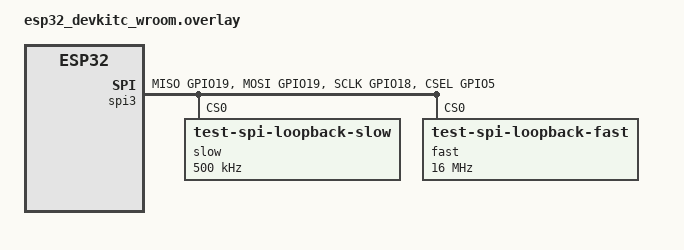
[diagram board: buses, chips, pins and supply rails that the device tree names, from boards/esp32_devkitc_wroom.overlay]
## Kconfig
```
# SPDX-License-Identifier: Apache-2.0

mainmenu "SPI Loopback Test"

source "Kconfig.zephyr"

config SPI_LOOPBACK_MODE_LOOP
	bool "Configure the SPI in LOOP mode, so that no extra wiring is needed"
```

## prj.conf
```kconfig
CONFIG_TEST=y
CONFIG_BOOT_BANNER=y
CONFIG_SPI=y
CONFIG_SPI_ASYNC=y
CONFIG_SPI_LOG_LEVEL_INF=y
CONFIG_ZTEST=y
CONFIG_ZTEST_NEW_API=y
```

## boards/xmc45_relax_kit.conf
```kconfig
CONFIG_SPI_XMC4XXX_INTERRUPT=y
CONFIG_SPI_XMC4XXX_DMA=y
CONFIG_SPI_LOOPBACK_MODE_LOOP=y
```

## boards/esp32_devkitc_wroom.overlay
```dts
/*
 * Copyright (c) 2022 Kumar Gala <galak@kernel.org>
 *
 * SPDX-License-Identifier: Apache-2.0
 */

&pinctrl {
	spim3_loopback: spim3_loopback {
		group1 {
			pinmux = <SPIM3_MISO_GPIO19>;
			output-enable; /* Enable internal loopback */
		};
		group2 {
			pinmux = <SPIM3_MOSI_GPIO19>;
			input-enable; /* Enable internal loopback */
		};
		group3 {
			pinmux = <SPIM3_SCLK_GPIO18>,
				<SPIM3_CSEL_GPIO5>;
		};
	};
};

&spi3 {
	slow@0 {
		compatible = "test-spi-loopback-slow";
		reg = <0>;
		spi-max-frequency = <500000>;
	};
	fast@0 {
		compatible = "test-spi-loopback-fast";
		reg = <0>;
		spi-max-frequency = <16000000>;
	};
};

&spi3 {
	dma-enabled;
	pinctrl-0 = <&spim3_loopback>;

};
```

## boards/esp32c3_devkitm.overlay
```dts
/*
 * Copyright (c) 2022 Kumar Gala <galak@kernel.org>
 *
 * SPDX-License-Identifier: Apache-2.0
 */

&pinctrl {
	spim2_loopback: spim2_loopback {
		group1 {
			pinmux = <SPIM2_MISO_GPIO2>;
			output-enable; /* Enable internal loopback */
		};
		group2 {
			pinmux = <SPIM2_MOSI_GPIO2>;
			input-enable; /* Enable internal loopback */
		};
		group3 {
			pinmux = <SPIM2_SCLK_GPIO6>,
				<SPIM2_CSEL_GPIO10>;
		};
	};
};

&spi2 {
	slow@0 {
		compatible = "test-spi-loopback-slow";
		reg = <0>;
		spi-max-frequency = <500000>;
	};
	fast@0 {
		compatible = "test-spi-loopback-fast";
		reg = <0>;
		spi-max-frequency = <16000000>;
	};
};

&spi2 {
	dma-enabled;
	pinctrl-0 = <&spim2_loopback>;
};
```

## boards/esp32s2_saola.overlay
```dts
/*
 * Copyright (c) 2022 Kumar Gala <galak@kernel.org>
 *
 * SPDX-License-Identifier: Apache-2.0
 */

&pinctrl {
	spim3_loopback: spim3_loopback {
		group1 {
			pinmux = <SPIM3_MISO_GPIO37>;
			output-enable; /* Enable internal loopback */
		};
		group2 {
			pinmux = <SPIM3_MOSI_GPIO37>;
			input-enable; /* Enable internal loopback */
		};
		group3 {
			pinmux = <SPIM3_SCLK_GPIO36>,
				<SPIM3_CSEL_GPIO34>;
		};
	};
};

&spi3 {
	slow@0 {
		compatible = "test-spi-loopback-slow";
		reg = <0>;
		spi-max-frequency = <100000>;
	};
	fast@0 {
		compatible = "test-spi-loopback-fast";
		reg = <0>;
		spi-max-frequency = <16000000>;
	};
};

&spi3 {
	dma-enabled;
	pinctrl-0 = <&spim3_loopback>;
};
```

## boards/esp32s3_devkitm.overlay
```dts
/*
 * Copyright (c) 2022 Kumar Gala <galak@kernel.org>
 *
 * SPDX-License-Identifier: Apache-2.0
 */

&pinctrl {
	spim3_loopback: spim3_loopback {
		group1 {
			pinmux = <SPIM3_MISO_GPIO37>;
			output-enable; /* Enable internal loopback */
		};
		group2 {
			pinmux = <SPIM3_MOSI_GPIO37>;
			input-enable; /* Enable internal loopback */
		};
		group3 {
			pinmux = <SPIM3_SCLK_GPIO36>,
				<SPIM3_CSEL_GPIO38>;
		};
	};
};

&spi3 {
	slow@0 {
		compatible = "test-spi-loopback-slow";
		reg = <0>;
		spi-max-frequency = <100000>;
	};
	fast@0 {
		compatible = "test-spi-loopback-fast";
		reg = <0>;
		spi-max-frequency = <16000000>;
	};
};

&spi3 {
	dma-enabled;
	pinctrl-0 = <&spim3_loopback>;
};
```

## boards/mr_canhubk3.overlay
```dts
/*
 * Copyright 2023 NXP
 *
 * SPDX-License-Identifier: Apache-2.0
 */

&lpspi1 {
	status = "okay";

	slow@0 {
		compatible = "test-spi-loopback-slow";
		reg = <0>;
		spi-max-frequency = <500000>;
	};

	fast@0 {
		compatible = "test-spi-loopback-fast";
		reg = <0>;
		spi-max-frequency = <5000000>;
	};
};
```

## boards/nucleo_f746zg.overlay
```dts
/*
 * Copyright (c) 2021 STMicroelectronics
 *
 * SPDX-License-Identifier: Apache-2.0
 */

&spi1 {
	dmas = <&dma2 5 3 0x28440 0x03
		&dma2 2 3 0x28480 0x03>;
	dma-names = "tx", "rx";
	slow@0 {
		compatible = "test-spi-loopback-slow";
		reg = <0>;
		spi-max-frequency = <500000>;
	};
	fast@0 {
		compatible = "test-spi-loopback-fast";
		reg = <0>;
		spi-max-frequency = <16000000>;
	};
};

&dma2 {
	status = "okay";
};
```

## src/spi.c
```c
/*
 * Copyright (c) 2017 Intel Corporation.
 *
 * SPDX-License-Identifier: Apache-2.0
 */

#define LOG_LEVEL CONFIG_LOG_DEFAULT_LEVEL
#include <zephyr/logging/log.h>
LOG_MODULE_REGISTER(spi_loopback);

#include <zephyr/kernel.h>
#include <zephyr/sys/printk.h>
#include <string.h>
#include <stdio.h>
#include <zephyr/ztest.h>

#include <zephyr/drivers/spi.h>

#define SPI_FAST_DEV	DT_COMPAT_GET_ANY_STATUS_OKAY(test_spi_loopback_fast)
#define SPI_SLOW_DEV	DT_COMPAT_GET_ANY_STATUS_OKAY(test_spi_loopback_slow)

#if CONFIG_SPI_LOOPBACK_MODE_LOOP
#define MODE_LOOP SPI_MODE_LOOP
#else
#define MODE_LOOP 0
#endif

#define SPI_OP SPI_OP_MODE_MASTER | SPI_MODE_CPOL | MODE_LOOP | \
	       SPI_MODE_CPHA | SPI_WORD_SET(8) | SPI_LINES_SINGLE


static struct spi_dt_spec spi_fast = SPI_DT_SPEC_GET(SPI_FAST_DEV, SPI_OP, 0);
static struct spi_dt_spec spi_slow = SPI_DT_SPEC_GET(SPI_SLOW_DEV, SPI_OP, 0);

/* to run this test, connect MOSI pin to the MISO of the SPI */

#define STACK_SIZE 512
#define BUF_SIZE 17
#define BUF2_SIZE 36

#if CONFIG_NOCACHE_MEMORY
static const char tx_data[BUF_SIZE] = "0123456789abcdef\0";
static __aligned(32) char buffer_tx[BUF_SIZE] __used __attribute__((__section__(".nocache")));
static __aligned(32) char buffer_rx[BUF_SIZE] __used __attribute__((__section__(".nocache")));
static const char tx2_data[BUF2_SIZE] = "Thequickbrownfoxjumpsoverthelazydog\0";
static __aligned(32) char buffer2_tx[BUF2_SIZE] __used __attribute__((__section__(".nocache")));
static __aligned(32) char buffer2_rx[BUF2_SIZE] __used __attribute__((__section__(".nocache")));
#else
/* this src memory shall be in RAM to support using as a DMA source pointer.*/
static uint8_t buffer_tx[] = "0123456789abcdef\0";
static uint8_t buffer_rx[BUF_SIZE] = {};

static uint8_t buffer2_tx[] = "Thequickbrownfoxjumpsoverthelazydog\0";
static uint8_t buffer2_rx[BUF2_SIZE] = {};
#endif

/*
 * We need 5x(buffer size) + 1 to print a comma-separated list of each
 * byte in hex, plus a null.
 */
static uint8_t buffer_print_tx[BUF_SIZE * 5 + 1];
static uint8_t buffer_print_rx[BUF_SIZE * 5 + 1];

static uint8_t buffer_print_tx2[BUF2_SIZE * 5 + 1];
static uint8_t buffer_print_rx2[BUF2_SIZE * 5 + 1];

static void to_display_format(const uint8_t *src, size_t size, char *dst)
{
	size_t i;

	for (i = 0; i < size; i++) {
		sprintf(dst + 5 * i, "0x%02x,", src[i]);
	}
}

/* test transferring different buffers on the same dma channels */
static int spi_complete_multiple(struct spi_dt_spec *spec)
{
	struct spi_buf tx_bufs[2];
	const struct spi_buf_set tx = {
		.buffers = tx_bufs,
		.count = ARRAY_SIZE(tx_bufs)
	};

	tx_bufs[0].buf = buffer_tx;
	tx_bufs[0].len = BUF_SIZE;

	tx_bufs[1].buf = buffer2_tx;
	tx_bufs[1].len = BUF2_SIZE;


	struct spi_buf rx_bufs[2];
	const struct spi_buf_set rx = {
		.buffers = rx_bufs,
		.count = ARRAY_SIZE(rx_bufs)
	};

	rx_bufs[0].buf = buffer_rx;
	rx_bufs[0].len = BUF_SIZE;

	rx_bufs[1].buf = buffer2_rx;
	rx_bufs[1].len = BUF2_SIZE;

	int ret;

	LOG_INF("Start complete multiple");

	ret = spi_transceive_dt(spec, &tx, &rx);
	if (ret) {
		LOG_ERR("Code %d", ret);
		zassert_false(ret, "SPI transceive failed");
		return ret;
	}

	if (memcmp(buffer_tx, buffer_rx, BUF_SIZE)) {
		to_display_format(buffer_tx, BUF_SIZE, buffer_print_tx);
		to_display_format(buffer_rx, BUF_SIZE, buffer_print_rx);
		LOG_ERR("Buffer contents are different: %s", buffer_print_tx);
		LOG_ERR("                           vs: %s", buffer_print_rx);
		zassert_false(1, "Buffer contents are different");
		return -1;
	}

	if (memcmp(buffer2_tx, buffer2_rx, BUF2_SIZE)) {
		to_display_format(buffer2_tx, BUF2_SIZE, buffer_print_tx2);
		to_display_format(buffer2_rx, BUF2_SIZE, buffer_print_rx2);
		LOG_ERR("Buffer 2 contents are different: %s", buffer_print_tx2);
		LOG_ERR("                             vs: %s", buffer_print_rx2);
		zassert_false(1, "Buffer 2 contents are different");
		return -1;
	}

	LOG_INF("Passed");

	return 0;
}

static int spi_complete_loop(struct spi_dt_spec *spec)
{
	const struct spi_buf tx_bufs[] = {
		{
			.buf = buffer_tx,
			.len = BUF_SIZE,
		},
	};
	const struct spi_buf rx_bufs[] = {
		{
			.buf = buffer_rx,
			.len = BUF_SIZE,
		},
	};
	const struct spi_buf_set tx = {
		.buffers = tx_bufs,
		.count = ARRAY_SIZE(tx_bufs)
	};
	const struct spi_buf_set rx = {
		.buffers = rx_bufs,
		.count = ARRAY_SIZE(rx_bufs)
	};

	int ret;

	LOG_INF("Start complete loop");

	ret = spi_transceive_dt(spec, &tx, &rx);
	if (ret) {
		LOG_ERR("Code %d", ret);
		zassert_false(ret, "SPI transceive failed");
		return ret;
	}

	if (memcmp(buffer_tx, buffer_rx, BUF_SIZE)) {
		to_display_format(buffer_tx, BUF_SIZE, buffer_print_tx);
		to_display_format(buffer_rx, BUF_SIZE, buffer_print_rx);
		LOG_ERR("Buffer contents are different: %s", buffer_print_tx);
		LOG_ERR("                           vs: %s", buffer_print_rx);
		zassert_false(1, "Buffer contents are different");
		return -1;
	}

	LOG_INF("Passed");

	return 0;
}

static int spi_null_tx_buf(struct spi_dt_spec *spec)
{
	static const uint8_t EXPECTED_NOP_RETURN_BUF[BUF_SIZE] = { 0 };

	(void)memset(buffer_rx, 0x77, BUF_SIZE);

	const struct spi_buf tx_bufs[] = {
		/* According to documentation, when sending NULL tx buf -
		 *  NOP frames should be sent on MOSI line
		 */
		{
			.buf = NULL,
			.len = BUF_SIZE,
		},
	};
	const struct spi_buf rx_bufs[] = {
		{
			.buf = buffer_rx,
			.len = BUF_SIZE,
		},
	};
	const struct spi_buf_set tx = {
		.buffers = tx_bufs,
		.count = ARRAY_SIZE(tx_bufs)
	};
	const struct spi_buf_set rx = {
		.buffers = rx_bufs,
		.count = ARRAY_SIZE(rx_bufs)
	};

	int ret;

	LOG_INF("Start null tx");

	ret = spi_transceive_dt(spec, &tx, &rx);
	if (ret) {
		LOG_ERR("Code %d", ret);
		zassert_false(ret, "SPI transceive failed");
		return ret;
	}


	if (memcmp(buffer_rx, EXPECTED_NOP_RETURN_BUF, BUF_SIZE)) {
		to_display_format(buffer_rx, BUF_SIZE, buffer_print_rx);
		LOG_ERR("Rx Buffer should contain NOP frames but got: %s",
			buffer_print_rx);
		zassert_false(1, "Buffer not as expected");
		return -1;
	}

	LOG_INF("Passed");

	return 0;
}

static int spi_rx_half_start(struct spi_dt_spec *spec)
{
	const struct spi_buf tx_bufs[] = {
		{
			.buf = buffer_tx,
			.len = BUF_SIZE,
		},
	};
	const struct spi_buf rx_bufs[] = {
		{
			.buf = buffer_rx,
			.len = 8,
		},
	};
	const struct spi_buf_set tx = {
		.buffers = tx_bufs,
		.count = ARRAY_SIZE(tx_bufs)
	};
	const struct spi_buf_set rx = {
		.buffers = rx_bufs,
		.count = ARRAY_SIZE(rx_bufs)
	};
	int ret;

	LOG_INF("Start half start");

	(void)memset(buffer_rx, 0, BUF_SIZE);

	ret = spi_transceive_dt(spec, &tx, &rx);
	if (ret) {
		LOG_ERR("Code %d", ret);
		zassert_false(ret, "SPI transceive failed");
		return -1;
	}

	if (memcmp(buffer_tx, buffer_rx, 8)) {
		to_display_format(buffer_tx, 8, buffer_print_tx);
		to_display_format(buffer_rx, 8, buffer_print_rx);
		LOG_ERR("Buffer contents are different: %s", buffer_print_tx);
		LOG_ERR("                           vs: %s", buffer_print_rx);
		zassert_false(1, "Buffer contents are different");
		return -1;
	}

	LOG_INF("Passed");

	return 0;
}

static int spi_rx_half_end(struct spi_dt_spec *spec)
{
	const struct spi_buf tx_bufs[] = {
		{
			.buf = buffer_tx,
			.len = BUF_SIZE,
		},
	};
	const struct spi_buf rx_bufs[] = {
		{
			.buf = NULL,
			.len = 8,
		},
		{
			.buf = buffer_rx,
			.len = 8,
		},
	};
	const struct spi_buf_set tx = {
		.buffers = tx_bufs,
		.count = ARRAY_SIZE(tx_bufs)
	};
	const struct spi_buf_set rx = {
		.buffers = rx_bufs,
		.count = ARRAY_SIZE(rx_bufs)
	};
	int ret;

	if (IS_ENABLED(CONFIG_SPI_STM32_DMA)) {
		LOG_INF("Skip half end");
		return 0;
	}

	LOG_INF("Start half end");

	(void)memset(buffer_rx, 0, BUF_SIZE);

	ret = spi_transceive_dt(spec, &tx, &rx);
	if (ret) {
		LOG_ERR("Code %d", ret);
		zassert_false(ret, "SPI transceive failed");
		return -1;
	}

	if (memcmp(buffer_tx + 8, buffer_rx, 8)) {
		to_display_format(buffer_tx + 8, 8, buffer_print_tx);
		to_display_format(buffer_rx, 8, buffer_print_rx);
		LOG_ERR("Buffer contents are different: %s", buffer_print_tx);
		LOG_ERR("                           vs: %s", buffer_print_rx);
		zassert_false(1, "Buffer contents are different");
		return -1;
	}

	LOG_INF("Passed");

	return 0;
}

static int spi_rx_every_4(struct spi_dt_spec *spec)
{
	const struct spi_buf tx_bufs[] = {
		{
			.buf = buffer_tx,
			.len = BUF_SIZE,
		},
	};
	const struct spi_buf rx_bufs[] = {
		{
			.buf = NULL,
			.len = 4,
		},
		{
			.buf = buffer_rx,
			.len = 4,
		},
		{
			.buf = NULL,
			.len = 4,
		},
		{
			.buf = buffer_rx + 4,
			.len = 4,
		},
	};
	const struct spi_buf_set tx = {
		.buffers = tx_bufs,
		.count = ARRAY_SIZE(tx_bufs)
	};
	const struct spi_buf_set rx = {
		.buffers = rx_bufs,
		.count = ARRAY_SIZE(rx_bufs)
	};
	int ret;

	if (IS_ENABLED(CONFIG_SPI_STM32_DMA)) {
		LOG_INF("Skip every 4");
		return 0;
	}

	if (IS_ENABLED(CONFIG_DSPI_MCUX_EDMA)) {
		LOG_INF("Skip every 4");
		return 0;
	}

	LOG_INF("Start every 4");

	(void)memset(buffer_rx, 0, BUF_SIZE);

	ret = spi_transceive_dt(spec, &tx, &rx);
	if (ret) {
		LOG_ERR("Code %d", ret);
		zassert_false(ret, "SPI transceive failed");
		return -1;
	}

	if (memcmp(buffer_tx + 4, buffer_rx, 4)) {
		to_display_format(buffer_tx + 4, 4, buffer_print_tx);
		to_display_format(buffer_rx, 4, buffer_print_rx);
		LOG_ERR("Buffer contents are different: %s", buffer_print_tx);
		LOG_ERR("                           vs: %s", buffer_print_rx);
		zassert_false(1, "Buffer contents are different");
		return -1;
	} else if (memcmp(buffer_tx + 12, buffer_rx + 4, 4)) {
		to_display_format(buffer_tx + 12, 4, buffer_print_tx);
		to_display_format(buffer_rx + 4, 4, buffer_print_rx);
		LOG_ERR("Buffer contents are different: %s", buffer_print_tx);
		LOG_ERR("                           vs: %s", buffer_print_rx);
		zassert_false(1, "Buffer contents are different");
		return -1;
	}

	LOG_INF("Passed");

	return 0;
}

#if (CONFIG_SPI_ASYNC)
static struct k_poll_signal async_sig = K_POLL_SIGNAL_INITIALIZER(async_sig);
static struct k_poll_event async_evt =
	K_POLL_EVENT_INITIALIZER(K_POLL_TYPE_SIGNAL,
				 K_POLL_MODE_NOTIFY_ONLY,
				 &async_sig);
static K_SEM_DEFINE(caller, 0, 1);
K_THREAD_STACK_DEFINE(spi_async_stack, STACK_SIZE);
static int result = 1;

static void spi_async_call_cb(struct k_poll_event *evt,
			      struct k_sem *caller_sem,
			      void *unused)
{
	int ret;

	LOG_DBG("Polling...");

	while (1) {
		ret = k_poll(evt, 1, K_MSEC(200));
		zassert_false(ret, "one or more events are not ready");

		result = evt->signal->result;
		k_sem_give(caller_sem);

		/* Reinitializing for next call */
		evt->signal->signaled = 0U;
		evt->state = K_POLL_STATE_NOT_READY;
	}
}

static int spi_async_call(struct spi_dt_spec *spec)
{
	const struct spi_buf tx_bufs[] = {
		{
			.buf = buffer_tx,
			.len = BUF_SIZE,
		},
	};
	const struct spi_buf rx_bufs[] = {
		{
			.buf = buffer_rx,
			.len = BUF_SIZE,
		},
	};
	const struct spi_buf_set tx = {
		.buffers = tx_bufs,
		.count = ARRAY_SIZE(tx_bufs)
	};
	const struct spi_buf_set rx = {
		.buffers = rx_bufs,
		.count = ARRAY_SIZE(rx_bufs)
	};
	int ret;

	LOG_INF("Start async call");

	ret = spi_transceive_signal(spec->bus, &spec->config, &tx, &rx, &async_sig);
	if (ret == -ENOTSUP) {
		LOG_DBG("Not supported");
		return 0;
	}

	if (ret) {
		LOG_ERR("Code %d", ret);
		zassert_false(ret, "SPI transceive failed");
		return -1;
	}

	k_sem_take(&caller, K_FOREVER);

	if (result) {
		LOG_ERR("Call code %d", ret);
		zassert_false(result, "SPI transceive failed");
		return -1;
	}

	LOG_INF("Passed");

	return 0;
}
#endif

static int spi_resource_lock_test(struct spi_dt_spec *lock_spec,
				  struct spi_dt_spec *try_spec)
{
	lock_spec->config.operation |= SPI_LOCK_ON;

	if (spi_complete_loop(lock_spec)) {
		return -1;
	}

	if (spi_release_dt(lock_spec)) {
		LOG_ERR("Deadlock now?");
		zassert_false(1, "SPI release failed");
		return -1;
	}

	if (spi_complete_loop(try_spec)) {
		return -1;
	}

	return 0;
}

ZTEST(spi_loopback, test_spi_loopback)
{
#if (CONFIG_SPI_ASYNC)
	struct k_thread async_thread;
	k_tid_t async_thread_id;
#endif
	LOG_INF("SPI test on buffers TX/RX %p/%p", buffer_tx, buffer_rx);

#if (CONFIG_SPI_ASYNC)
	async_thread_id = k_thread_create(&async_thread,
					  spi_async_stack, STACK_SIZE,
					  (k_thread_entry_t)spi_async_call_cb,
					  &async_evt, &caller, NULL,
					  K_PRIO_COOP(7), 0, K_NO_WAIT);
#endif
	zassert_true(spi_is_ready_dt(&spi_slow), "Slow spi lookback device is not ready");

	LOG_INF("SPI test slow config");

	if (spi_complete_multiple(&spi_slow) ||
	    spi_complete_loop(&spi_slow) ||
	    spi_null_tx_buf(&spi_slow) ||
	    spi_rx_half_start(&spi_slow) ||
	    spi_rx_half_end(&spi_slow) ||
	    spi_rx_every_4(&spi_slow)
#if (CONFIG_SPI_ASYNC)
	    || spi_async_call(&spi_slow)
#endif
	    ) {
		goto end;
	}

	zassert_true(spi_is_ready_dt(&spi_fast), "Fast spi lookback device is not ready");

	LOG_INF("SPI test fast config");

	if (spi_complete_multiple(&spi_fast) ||
	    spi_complete_loop(&spi_fast) ||
	    spi_null_tx_buf(&spi_fast) ||
	    spi_rx_half_start(&spi_fast) ||
	    spi_rx_half_end(&spi_fast) ||
	    spi_rx_every_4(&spi_fast)
#if (CONFIG_SPI_ASYNC)
	    || spi_async_call(&spi_fast)
#endif
	    ) {
		goto end;
	}

	if (spi_resource_lock_test(&spi_slow, &spi_fast)) {
		goto end;
	}

	LOG_INF("All tx/rx passed");
end:
#if (CONFIG_SPI_ASYNC)
	k_thread_abort(async_thread_id);
#else
	;
#endif
}

static void *spi_loopback_setup(void)
{
#if CONFIG_NOCACHE_MEMORY
	memset(buffer_tx, 0, sizeof(buffer_tx));
	memcpy(buffer_tx, tx_data, sizeof(tx_data));
	memset(buffer2_tx, 0, sizeof(buffer2_tx));
	memcpy(buffer2_tx, tx2_data, sizeof(tx2_data));
#endif
	return NULL;
}

ZTEST_SUITE(spi_loopback, NULL, spi_loopback_setup, NULL, NULL, NULL);
```

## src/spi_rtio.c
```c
/*
 * Copyright (c) 2023 Intel Corporation.
 *
 * SPDX-License-Identifier: Apache-2.0
 */

#include "zephyr/devicetree.h"
#define LOG_LEVEL CONFIG_LOG_DEFAULT_LEVEL
#include <zephyr/logging/log.h>
LOG_MODULE_REGISTER(spi_rtio_loopback);

#include <zephyr/kernel.h>
#include <zephyr/sys/printk.h>
#include <string.h>
#include <stdio.h>
#include <zephyr/ztest.h>

#include <zephyr/rtio/rtio.h>
#include <zephyr/drivers/spi.h>

#define SPI_FAST_DEV	DT_COMPAT_GET_ANY_STATUS_OKAY(test_spi_loopback_fast)
#define SPI_SLOW_DEV	DT_COMPAT_GET_ANY_STATUS_OKAY(test_spi_loopback_slow)

#if CONFIG_SPI_LOOPBACK_MODE_LOOP
#define MODE_LOOP SPI_MODE_LOOP
#else
#define MODE_LOOP 0
#endif

#define SPI_OP SPI_OP_MODE_MASTER | SPI_MODE_CPOL | MODE_LOOP | \
	       SPI_MODE_CPHA | SPI_WORD_SET(8) | SPI_LINES_SINGLE

static SPI_DT_IODEV_DEFINE(spi_fast, SPI_FAST_DEV, SPI_OP, 0);
static SPI_DT_IODEV_DEFINE(spi_slow, SPI_FAST_DEV, SPI_OP, 0);

RTIO_DEFINE(r, 8, 8);

/* to run this test, connect MOSI pin to the MISO of the SPI */

#define STACK_SIZE 512
#define BUF_SIZE 17
#define BUF2_SIZE 36

#if CONFIG_NOCACHE_MEMORY
static const char tx_data[BUF_SIZE] = "0123456789abcdef\0";
static __aligned(32) char buffer_tx[BUF_SIZE] __used __attribute__((__section__(".nocache")));
static __aligned(32) char buffer_rx[BUF_SIZE] __used __attribute__((__section__(".nocache")));
static const char tx2_data[BUF2_SIZE] = "Thequickbrownfoxjumpsoverthelazydog\0";
static __aligned(32) char buffer2_tx[BUF2_SIZE] __used __attribute__((__section__(".nocache")));
static __aligned(32) char buffer2_rx[BUF2_SIZE] __used __attribute__((__section__(".nocache")));
#else
/* this src memory shall be in RAM to support using as a DMA source pointer.*/
static uint8_t buffer_tx[] = "0123456789abcdef\0";
static uint8_t buffer_rx[BUF_SIZE] = {};

static uint8_t buffer2_tx[] = "Thequickbrownfoxjumpsoverthelazydog\0";
static uint8_t buffer2_rx[BUF2_SIZE] = {};
#endif

/*
 * We need 5x(buffer size) + 1 to print a comma-separated list of each
 * byte in hex, plus a null.
 */
static uint8_t buffer_print_tx[BUF_SIZE * 5 + 1];
static uint8_t buffer_print_rx[BUF_SIZE * 5 + 1];

static uint8_t buffer_print_tx2[BUF2_SIZE * 5 + 1];
static uint8_t buffer_print_rx2[BUF2_SIZE * 5 + 1];



static void to_display_format(const uint8_t *src, size_t size, char *dst)
{
	size_t i;

	for (i = 0; i < size; i++) {
		sprintf(dst + 5 * i, "0x%02x,", src[i]);
	}
}

/* test transferring different buffers on the same dma channels */
static int spi_complete_multiple(struct rtio_iodev *spi_iodev)
{
	struct rtio_sqe *sqe;
	struct rtio_cqe *cqe;
	int ret;

	sqe = rtio_sqe_acquire(&r);
	rtio_sqe_prep_transceive(sqe, spi_iodev, RTIO_PRIO_NORM,
				buffer_tx, buffer_rx, BUF_SIZE, NULL);
	sqe->flags |= RTIO_SQE_TRANSACTION;
	sqe = rtio_sqe_acquire(&r);
	rtio_sqe_prep_transceive(sqe, spi_iodev, RTIO_PRIO_NORM,
				 buffer2_tx, buffer2_rx, BUF2_SIZE, NULL);

	LOG_INF("Start complete multiple");
	rtio_submit(&r, 1);
	cqe = rtio_cqe_consume(&r);
	ret = cqe->result;
	rtio_cqe_release(&r, cqe);

	if (ret) {
		LOG_ERR("Code %d", ret);
		zassert_false(ret, "SPI transceive failed");
		return ret;
	}

	if (memcmp(buffer_tx, buffer_rx, BUF_SIZE)) {
		to_display_format(buffer_tx, BUF_SIZE, buffer_print_tx);
		to_display_format(buffer_rx, BUF_SIZE, buffer_print_rx);
		LOG_ERR("Buffer contents are different: %s", buffer_print_tx);
		LOG_ERR("                           vs: %s", buffer_print_rx);
		zassert_false(1, "Buffer contents are different");
		return -1;
	}

	if (memcmp(buffer2_tx, buffer2_rx, BUF2_SIZE)) {
		to_display_format(buffer2_tx, BUF2_SIZE, buffer_print_tx2);
		to_display_format(buffer2_rx, BUF2_SIZE, buffer_print_rx2);
		LOG_ERR("Buffer 2 contents are different: %s", buffer_print_tx2);
		LOG_ERR("                             vs: %s", buffer_print_rx2);
		zassert_false(1, "Buffer 2 contents are different");
		return -1;
	}

	LOG_INF("Passed");

	return 0;
}

static int spi_complete_loop(struct rtio_iodev *spi_iodev)
{
	struct rtio_sqe *sqe;
	struct rtio_cqe *cqe;
	int ret;

	sqe = rtio_sqe_acquire(&r);
	rtio_sqe_prep_transceive(sqe, spi_iodev, RTIO_PRIO_NORM,
				 buffer_tx,  buffer_rx, BUF_SIZE, NULL);

	LOG_INF("Start complete loop");

	rtio_submit(&r, 1);
	cqe = rtio_cqe_consume(&r);
	ret = cqe->result;
	rtio_cqe_release(&r, cqe);

	if (ret) {
		LOG_ERR("Code %d", ret);
		zassert_false(ret, "SPI transceive failed");
		return ret;
	}

	if (memcmp(buffer_tx, buffer_rx, BUF_SIZE)) {
		to_display_format(buffer_tx, BUF_SIZE, buffer_print_tx);
		to_display_format(buffer_rx, BUF_SIZE, buffer_print_rx);
		LOG_ERR("Buffer contents are different: %s", buffer_print_tx);
		LOG_ERR("                           vs: %s", buffer_print_rx);
		zassert_false(1, "Buffer contents are different");
		return -1;
	}

	LOG_INF("Passed");

	return 0;
}

static int spi_null_tx_buf(struct rtio_iodev *spi_iodev)
{
	static const uint8_t EXPECTED_NOP_RETURN_BUF[BUF_SIZE] = { 0 };

	struct rtio_sqe *sqe;
	struct rtio_cqe *cqe;
	int ret;

	(void)memset(buffer_rx, 0x77, BUF_SIZE);

	sqe = rtio_sqe_acquire(&r);
	rtio_sqe_prep_read(sqe, spi_iodev, RTIO_PRIO_NORM,
				 buffer_rx, BUF_SIZE,
				 NULL);

	LOG_INF("Start null tx");

	rtio_submit(&r, 1);
	cqe = rtio_cqe_consume(&r);
	ret = cqe->result;
	rtio_cqe_release(&r, cqe);

	if (ret) {
		LOG_ERR("Code %d", ret);
		zassert_false(ret, "SPI transceive failed");
		return ret;
	}


	if (memcmp(buffer_rx, EXPECTED_NOP_RETURN_BUF, BUF_SIZE)) {
		to_display_format(buffer_rx, BUF_SIZE, buffer_print_rx);
		LOG_ERR("Rx Buffer should contain NOP frames but got: %s",
			buffer_print_rx);
		zassert_false(1, "Buffer not as expected");
		return -1;
	}

	LOG_INF("Passed");

	return 0;
}

static int spi_rx_half_start(struct rtio_iodev *spi_iodev)
{
	struct rtio_sqe *sqe;
	struct rtio_cqe *cqe;
	int ret;

	sqe = rtio_sqe_acquire(&r);
	rtio_sqe_prep_transceive(sqe, spi_iodev, RTIO_PRIO_NORM,
				 buffer_tx, buffer_rx, 8, NULL);
	sqe->flags |= RTIO_SQE_TRANSACTION;
	sqe = rtio_sqe_acquire(&r);
	rtio_sqe_prep_write(sqe, spi_iodev, RTIO_PRIO_NORM,
				 &buffer_tx[8], BUF_SIZE-8, NULL);


	LOG_INF("Start half start");

	(void)memset(buffer_rx, 0, BUF_SIZE);

	rtio_submit(&r, 1);
	cqe = rtio_cqe_consume(&r);
	ret = cqe->result;
	rtio_cqe_release(&r, cqe);

	if (ret) {
		LOG_ERR("Code %d", ret);
		zassert_false(ret, "SPI transceive failed");
		return -1;
	}

	if (memcmp(buffer_tx, buffer_rx, 8)) {
		to_display_format(buffer_tx, 8, buffer_print_tx);
		to_display_format(buffer_rx, 8, buffer_print_rx);
		LOG_ERR("Buffer contents are different: %s", buffer_print_tx);
		LOG_ERR("                           vs: %s", buffer_print_rx);
		zassert_false(1, "Buffer contents are different");
		return -1;
	}

	LOG_INF("Passed");

	return 0;
}

static int spi_rx_half_end(struct rtio_iodev *spi_iodev)
{
	struct rtio_sqe *sqe;
	struct rtio_cqe *cqe;
	int ret;

	if (IS_ENABLED(CONFIG_SPI_STM32_DMA)) {
		LOG_INF("Skip half end");
		return 0;
	}

	sqe = rtio_sqe_acquire(&r);
	rtio_sqe_prep_write(sqe, spi_iodev, RTIO_PRIO_NORM,
				 buffer_tx, 8, NULL);
	sqe->flags |= RTIO_SQE_TRANSACTION;

	sqe = rtio_sqe_acquire(&r);
	rtio_sqe_prep_transceive(sqe, spi_iodev, RTIO_PRIO_NORM,
				 &buffer_tx[8],
				 buffer_rx, 8,
				 NULL);

	sqe = rtio_sqe_acquire(&r);
	rtio_sqe_prep_write(sqe, spi_iodev, RTIO_PRIO_NORM,
		&buffer_tx[16], BUF_SIZE-16, NULL);

	LOG_INF("Start half end");

	(void)memset(buffer_rx, 0, BUF_SIZE);

	rtio_submit(&r, 1);
	cqe = rtio_cqe_consume(&r);
	ret = cqe->result;
	rtio_cqe_release(&r, cqe);

	if (ret) {
		LOG_ERR("Code %d", ret);
		zassert_false(ret, "SPI transceive failed");
		return -1;
	}

	if (memcmp(buffer_tx + 8, buffer_rx, 8)) {
		to_display_format(buffer_tx + 8, 8, buffer_print_tx);
		to_display_format(buffer_rx, 8, buffer_print_rx);
		LOG_ERR("Buffer contents are different: %s", buffer_print_tx);
		LOG_ERR("                           vs: %s", buffer_print_rx);
		zassert_false(1, "Buffer contents are different");
		return -1;
	}

	LOG_INF("Passed");

	return 0;
}

static int spi_rx_every_4(struct rtio_iodev *spi_iodev)
{
	struct rtio_sqe *sqe;
	struct rtio_cqe *cqe;
	int ret;

	if (IS_ENABLED(CONFIG_SPI_STM32_DMA)) {
		LOG_INF("Skip every 4");
		return 0;
	}

	if (IS_ENABLED(CONFIG_DSPI_MCUX_EDMA)) {
		LOG_INF("Skip every 4");
		return 0;
	}

	sqe = rtio_sqe_acquire(&r);
	rtio_sqe_prep_write(sqe, spi_iodev, RTIO_PRIO_NORM,
				 buffer_tx, 4,
				 NULL);
	sqe->flags |= RTIO_SQE_TRANSACTION;
	sqe = rtio_sqe_acquire(&r);
	rtio_sqe_prep_transceive(sqe, spi_iodev, RTIO_PRIO_NORM,
				 &buffer_tx[4], buffer_rx, 4, NULL);
	sqe->flags |= RTIO_SQE_TRANSACTION;
	sqe = rtio_sqe_acquire(&r);
	rtio_sqe_prep_write(sqe, spi_iodev, RTIO_PRIO_NORM,
				 &buffer_tx[8], (BUF_SIZE - 8),
				 NULL);
	sqe->flags |= RTIO_SQE_TRANSACTION;
	sqe = rtio_sqe_acquire(&r);
	rtio_sqe_prep_transceive(sqe, spi_iodev, RTIO_PRIO_NORM,
				 &buffer_tx[12], &buffer_rx[4], 4, NULL);
	sqe->flags |= RTIO_SQE_TRANSACTION;
	sqe = rtio_sqe_acquire(&r);
	rtio_sqe_prep_write(sqe, spi_iodev, RTIO_PRIO_NORM,
				 &buffer_tx[16], BUF_SIZE-16, NULL);

	LOG_INF("Start every 4");

	(void)memset(buffer_rx, 0, BUF_SIZE);

	rtio_submit(&r, 1);
	cqe = rtio_cqe_consume(&r);
	ret = cqe->result;
	rtio_cqe_release(&r, cqe);

	if (ret) {
		LOG_ERR("Code %d", ret);
		zassert_false(ret, "SPI transceive failed");
		return -1;
	}

	if (memcmp(buffer_tx + 4, buffer_rx, 4)) {
		to_display_format(buffer_tx + 4, 4, buffer_print_tx);
		to_display_format(buffer_rx, 4, buffer_print_rx);
		LOG_ERR("Buffer contents are different: %s", buffer_print_tx);
		LOG_ERR("                           vs: %s", buffer_print_rx);
		zassert_false(1, "Buffer contents are different");
		return -1;
	} else if (memcmp(buffer_tx + 12, buffer_rx + 4, 4)) {
		to_display_format(buffer_tx + 12, 4, buffer_print_tx);
		to_display_format(buffer_rx + 4, 4, buffer_print_rx);
		LOG_ERR("Buffer contents are different: %s", buffer_print_tx);
		LOG_ERR("                           vs: %s", buffer_print_rx);
		zassert_false(1, "Buffer contents are different");
		return -1;
	}

	LOG_INF("Passed");

	return 0;
}


ZTEST(spi_loopback_rtio, test_spi_loopback_rtio)
{

	LOG_INF("SPI test on buffers TX/RX %p/%p", buffer_tx, buffer_rx);

	zassert_true(spi_is_ready_iodev(&spi_slow), "Slow spi lookback device is not ready");

	LOG_INF("SPI test slow config");

	if (spi_complete_multiple(&spi_slow) ||
	    spi_complete_loop(&spi_slow) ||
	    spi_null_tx_buf(&spi_slow) ||
	    spi_rx_half_start(&spi_slow) ||
	    spi_rx_half_end(&spi_slow) ||
	    spi_rx_every_4(&spi_slow)
	    ) {
		goto end;
	}

	zassert_true(spi_is_ready_iodev(&spi_fast), "Fast spi lookback device is not ready");

	LOG_INF("SPI test fast config");

	if (spi_complete_multiple(&spi_fast) ||
	    spi_complete_loop(&spi_fast) ||
	    spi_null_tx_buf(&spi_fast) ||
	    spi_rx_half_start(&spi_fast) ||
	    spi_rx_half_end(&spi_fast) ||
	    spi_rx_every_4(&spi_fast)
	    ) {
		goto end;
	}

	LOG_INF("All tx/rx passed");
end:
}

static void *spi_loopback_setup(void)
{
#if CONFIG_NOCACHE_MEMORY
	memset(buffer_tx, 0, sizeof(buffer_tx));
	memcpy(buffer_tx, tx_data, sizeof(tx_data));
	memset(buffer2_tx, 0, sizeof(buffer2_tx));
	memcpy(buffer2_tx, tx2_data, sizeof(tx2_data));
#endif
	return NULL;
}

ZTEST_SUITE(spi_loopback_rtio, NULL, spi_loopback_setup, NULL, NULL, NULL);
```
